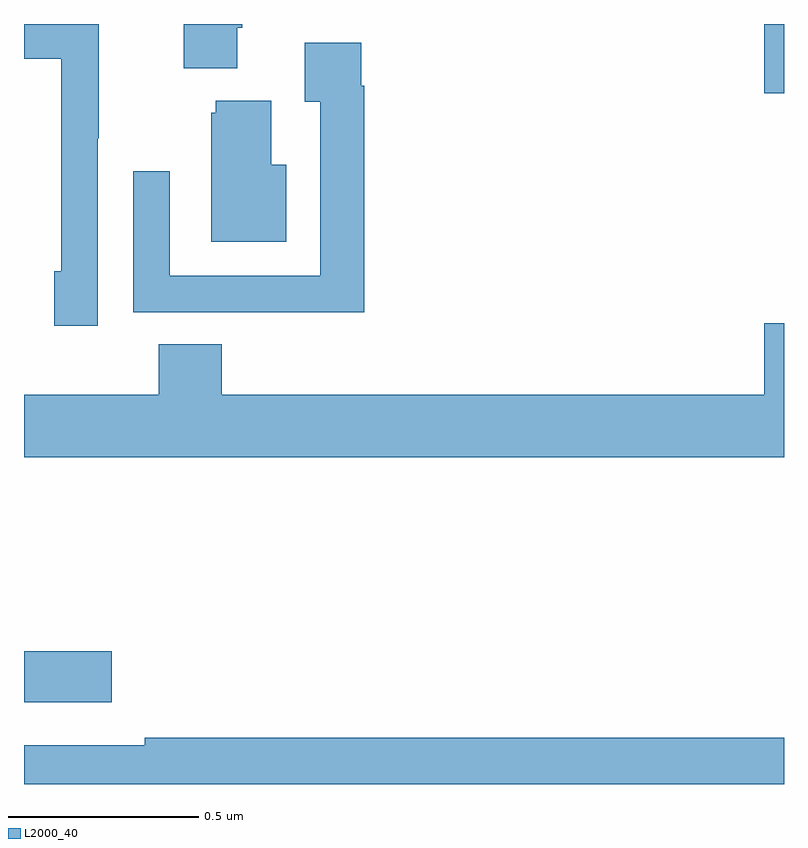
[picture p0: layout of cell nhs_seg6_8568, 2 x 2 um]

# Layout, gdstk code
import gdstk
lib = gdstk.Library(unit=1e-6, precision=1e-09)
def R(c, l, rs):  # rectangles x0, y0, x1, y1
    for r in rs: c.add(gdstk.rectangle(r[:2], r[2:], *l))
def P(c, l, *ps):  # polygons
    for p in ps: c.add(gdstk.Polygon(p, *l))
L2000_40 = (2000, 40)

nhs_seg6_8568 = lib.new_cell('nhs_seg6_8568')
R(nhs_seg6_8568, L2000_40, [(223,922.715,223.231,922.85), (224.948,924.318,225,924.5)])
P(nhs_seg6_8568, L2000_40, [(223.561,924.49),(223.574,924.49),(223.574,924.5),(223.421,924.5),(223.421,924.383),(223.561,924.383)],
  [(223.194,924.199),(223.197,924.199),(223.197,924.5),(223,924.5),(223,924.408),(223.098,924.408),(223.098,923.85),(223.079,923.85),(223.079,923.706),(223.194,923.706)],
  [(223.895,924.338),(223.888,924.338),(223.888,924.451),(223.739,924.451),(223.739,924.295),(223.779,924.295),(223.779,923.838),(223.383,923.838),(223.383,924.112),(223.287,924.112),(223.287,923.742),(223.603,923.742),(223.603,923.741),(223.895,923.741)],
  [(223.69,924.13),(223.651,924.13),(223.651,924.298),(223.505,924.298),(223.505,924.267),(223.493,924.267),(223.493,923.927),(223.69,923.927)],
  [(225,923.713),(224.948,923.713),(224.948,923.524),(223.52,923.524),(223.52,923.657),(223.355,923.657),(223.355,923.524),(223,923.524),(223,923.36),(225,923.36)],
  [(225,922.622),(223.318,922.622),(223.318,922.602),(223,922.602),(223,922.5),(225,922.5)])

lib.write_gds('nhs_seg6_8568.gds')
